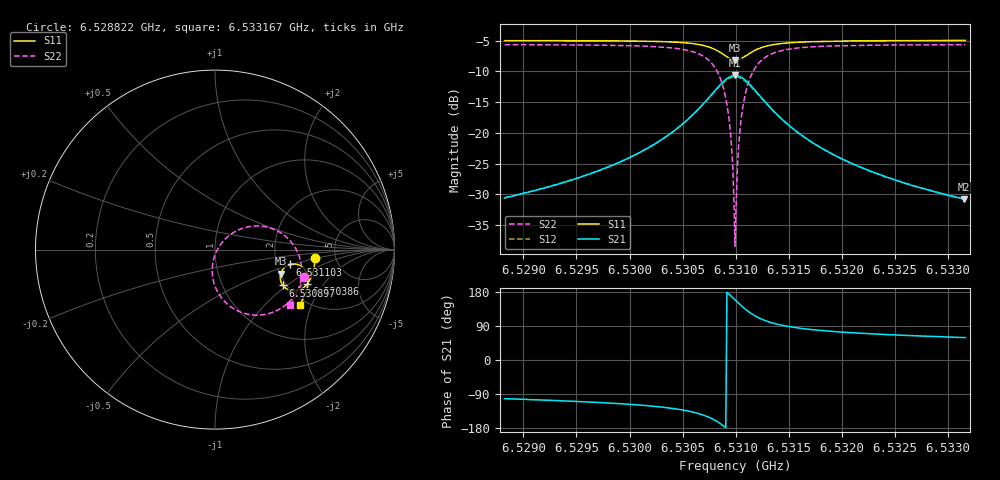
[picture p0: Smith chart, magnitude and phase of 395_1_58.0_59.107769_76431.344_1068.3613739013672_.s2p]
#  HZ  S  RI  R  50.00
! Rohde & Schwarz Vector Network Analyzer
! Rohde-Schwarz,ZNB20-2Port,1311601062101988,3.16
! Created: UTC 3/21/2024, 1:08:00 AM
! freq[Hz]  re:S11  im:S11  re:S21  im:S21  re:S12  im:S12  re:S22  im:S22
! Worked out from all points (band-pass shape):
!   401 points, 6.528822 GHz to 6.533167 GHz, reference 50 ohm
!   highest |S21| = -10.66 dB at 6.530994 GHz (marker M1); lowest = -30.8 dB at 6.533156 GHz (marker M2)
!   |S21| within 3 dB of the highest: 6.530779 GHz to 6.531213 GHz (434.1 kHz wide, 0.00665 % of centre)
!   lowest |S11| = -8.2 dB at 6.530994 GHz (marker M3), VSWR 2.28, Z = 101 - j31.8 ohm
!   |S11| at or under -10 dB: nowhere
!   |S22| runs from -38.4 to -5.7 dB; largest |S21 - S12| = 0.011
!   S11 on the Smith chart (normalised r, x): 6.528822 GHz: 3.48, -0.49; 6.530386 GHz: 2.56, -1.40; 6.530897 GHz: 1.92, -0.94; 6.531103 GHz: 2.37, -0.48; 6.533167 GHz: 1.82, -1.65
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6.5288224e9  0.5592 -0.0486  -0.00616 -0.0289  -0.00673 -0.0289  0.4981 -0.1515
6.52955e9  0.5498 -0.1084  -0.0151 -0.0414  -0.016 -0.0411  0.4691 -0.2181
6.5302777e9  0.5225 -0.179  -0.047 -0.0712  -0.0489 -0.0701  0.3916 -0.3104
6.5303863e9  0.5136 -0.1917  -0.0595 -0.0789  -0.0616 -0.0773  0.3653 -0.3287
6.5307338e9  0.4473 -0.23  -0.1611 -0.0953  -0.1632 -0.0889  0.1732 -0.3582
6.5308316e9  0.4068 -0.2228  -0.224 -0.0673  -0.2229 -0.0582  0.067 -0.3019
6.5308967e9  0.3782 -0.1995  -0.2658 -0.0174  -0.261 -0.00822  0.00298 -0.2112
6.5309402e9  0.3656 -0.1732  -0.2817 0.0331  -0.2739 0.0407  -0.0155 -0.1247
6.5309619e9  0.3634 -0.1575  -0.2827 0.0618  -0.2737 0.068  -0.0126 -0.0773
6.5309727e9  0.3634 -0.1496  -0.281 0.0764  -0.2716 0.0818  -0.00741 -0.0534
6.5309836e9  0.3644 -0.1415  -0.2779 0.091  -0.2681 0.0955  -0.000111 -0.0299
6.5309945e9  0.3662 -0.1336  -0.2734 0.1053  -0.2634 0.1088  0.00962 -0.0072
6.5310162e9  0.3726 -0.1186  -0.2601 0.1321  -0.2503 0.1338  0.0357 0.0348
6.531027e9  0.3767 -0.1118  -0.2515 0.1442  -0.2418 0.1451  0.0514 0.0536
6.5310488e9  0.3871 -0.0999  -0.2318 0.1653  -0.2228 0.1647  0.0873 0.0848
6.5311031e9  0.4186 -0.0825  -0.1743 0.1967  -0.168 0.1939  0.1874 0.1278
6.5311791e9  0.4594 -0.0829  -0.102 0.1994  -0.0988 0.1966  0.3093 0.12
6.5312877e9  0.4952 -0.1045  -0.0398 0.1703  -0.0383 0.1687  0.4114 0.0568
6.5317221e9  0.5192 -0.1834  0.0144 0.0823  0.0154 0.0821  0.4831 -0.129
6.5324498e9  0.4992 -0.2556  0.017 0.0395  0.0177 0.0393  0.4555 -0.2447
6.5331557e9  0.4718 -0.3075  0.0149 0.0248  0.0154 0.0246  0.4209 -0.3059
6.5331666e9  0.4715 -0.3083  0.0149 0.0249  0.0153 0.0244  0.4204 -0.3066
